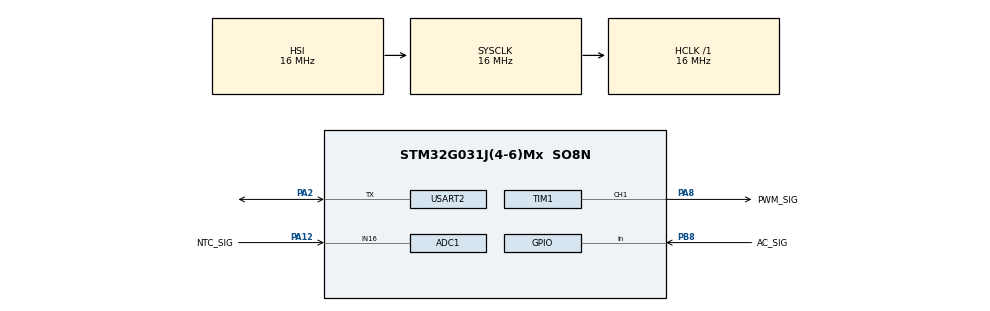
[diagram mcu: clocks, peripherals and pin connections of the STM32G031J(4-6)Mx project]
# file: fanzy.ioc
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ADC1.NbrOfConversion=1
ADC1.NbrOfConversionFlag=0
ADC1.SelectedChannel=ADC_CHANNEL_16
ADC1.Sequencer=NOT_FULLY_CONFIGURABLE
ADC1.master=1
Mcu.Family=STM32G0
Mcu.Name=STM32G031J(4-6)Mx
Mcu.Package=SO8N
NVIC.USART2_IRQn=true\:0\:0\:false\:false\:true\:true\:true\:true
PA12\ [PA10].GPIO_Label=NTC_SIG
PA12\ [PA10].Mode=IN16
PA12\ [PA10].Signal=ADC1_IN16
PA13.Mode=Serial_Wire
PA13.Signal=SYS_SWDIO
PA14-BOOT0.Mode=Serial_Wire
PA14-BOOT0.Signal=SYS_SWCLK
PA14-BOOT0__PA15__PB5__PB6.StandardMode=true
PA2.Mode=Half_duplex(single_wire_mode)
PA2.Signal=USART2_TX
PA8.GPIO_Label=PWM_SIG
PA8.Signal=S_TIM1_CH1
PB0__PB1__PA8__PA11\ [PA9].StandardMode=true
PB8.GPIO_Label=AC_SIG
PB8.Signal=GPIO_Input
PC14-OSC32_IN\ (PC14)__PB7__PB8__PB9.StandardMode=true
PF2\ -\ NRST__PA0__PA1__PA2.StandardMode=true
ProjectManager.HeapSize=0x200
ProjectManager.StackSize=0x400
ProjectManager.TargetToolchain=CMake
RCC.AHBFreq_Value=16000000
RCC.CortexFreq_Value=16000000
RCC.EXTERNAL_CLOCK_VALUE=12288000
RCC.HCLKFreq_Value=16000000
RCC.HSE_VALUE=8000000
RCC.HSI_VALUE=16000000
RCC.LSE_VALUE=32768
RCC.SYSCLKFreq_VALUE=16000000
RCC.VCOOutputFreq_Value=128000000
SH.S_TIM1_CH1.0=TIM1_CH1,PWM Generation1 CH1
TIM1.Channel-PWM\ Generation1\ CH1=TIM_CHANNEL_1
TIM1.Period=100-1
TIM1.Prescaler=6400-1
USART2.VirtualMode-Half_duplex(single_wire_mode)=VM_ASYNC
board=custom

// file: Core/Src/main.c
/* USER CODE BEGIN Header */
/**
 ******************************************************************************
 * @file           : main.c
 * @brief          : Main program body
 ******************************************************************************
 * @attention
 *
 * Copyright (c) 2026 STMicroelectronics.
 * All rights reserved.
 *
 * This software is licensed under terms that can be found in the LICENSE file
 * in the root directory of this software component.
 * If no LICENSE file comes with this software, it is provided AS-IS.
 *
 ******************************************************************************
 */
/* USER CODE END Header */
#include "main.h"
#include "adc.h"
#include "gpio.h"
#include "stm32g0xx_hal.h"
#include "stm32g0xx_hal_def.h"
#include "stm32g0xx_hal_uart.h"
#include "tim.h"
#include "usart.h"

/* USER CODE BEGIN Includes */
#include "config.h"
#include "fan.h"
#include "proto.h"
#include "stdint.h"
#include "temp.h"
#include <stdint.h>
#include <string.h>

/* USER CODE END Includes */

void SystemClock_Config(void);

/* USER CODE BEGIN 0 */
#define PKT_BUF_SIZE sizeof(proto_packet_t)

static uint8_t uart_rx_buf[PKT_BUF_SIZE];
static uint8_t pkt_buf[PKT_BUF_SIZE];

static volatile uint16_t pkt_len;
static volatile bool pkt_ready;

void HAL_UARTEx_RxEventCallback(UART_HandleTypeDef *huart, uint16_t size) {
  if (huart != &huart2) {
    return;
  }

  if (!pkt_ready && size <= PKT_BUF_SIZE) {
    memcpy(pkt_buf, uart_rx_buf, size);
    pkt_len = size;
    pkt_ready = true;
  }

  HAL_UARTEx_ReceiveToIdle_IT(&huart2, uart_rx_buf, sizeof(uart_rx_buf));
}
/* USER CODE END 0 */

int main(void) {

  /* MCU Configuration--------------------------------------------------------*/

  /* Reset of all peripherals, Initializes the Flash interface and the Systick.
   */
  HAL_Init();

  /* USER CODE BEGIN Init */
  HAL_Delay(2000);

  /* USER CODE END Init */

  /* Configure the system clock */
  SystemClock_Config();

  /* Initialize all configured peripherals */
  MX_GPIO_Init();
  MX_TIM1_Init();
  MX_ADC1_Init();
  MX_USART2_UART_Init();
  /* USER CODE BEGIN 2 */

  uint32_t s = init_config();
  if (s != CONFIG_OK) {
    return s;
  }

  config_t cfg = {0};
  s = load_config(&cfg);
  if (s != CONFIG_OK) {
    return s;
  }

  fan_init();
  handle_msg_init();
  HAL_HalfDuplex_EnableReceiver(&huart2);
  HAL_UARTEx_ReceiveToIdle_IT(&huart2, uart_rx_buf, sizeof(uart_rx_buf));

  /* USER CODE END 2 */

  /* Infinite loop */
  /* USER CODE BEGIN WHILE */
  while (1) {
    if (pkt_ready) {
      pkt_ready = false;
      // uint16_t len = pkt_len;
      proto_packet_t *pkt = (proto_packet_t *)pkt_buf;
      proto_status_t st = proto_handle_pkt(pkt);
      HAL_HalfDuplex_EnableReceiver(&huart2);
      HAL_UARTEx_ReceiveToIdle_IT(&huart2, uart_rx_buf, sizeof(uart_rx_buf));
      if (st != PROTO_OK) {
        continue;
      }
    }
    temperature_t temp = {0};
    temp_status_t status = read_temp(&cfg, &temp);
    if (status != TEMP_OK) {
      // fan_set_duty(&cfg, (cfg.fan_temp_full_c + cfg.fan_temp_on_c) / 2);
      fan_set_duty(&cfg, cfg.fan_temp_full_c);
      continue;
    }

    fan_set_duty(&cfg, temp);
    HAL_Delay(100);
    /* USER CODE END WHILE */

  }
}

void SystemClock_Config(void) {
  RCC_OscInitTypeDef RCC_OscInitStruct = {0};
  RCC_ClkInitTypeDef RCC_ClkInitStruct = {0};

  /** Configure the main internal regulator output voltage
   */
  HAL_PWREx_ControlVoltageScaling(PWR_REGULATOR_VOLTAGE_SCALE1);

  /** Initializes the RCC Oscillators according to the specified parameters
   * in the RCC_OscInitTypeDef structure.
   */
  RCC_OscInitStruct.OscillatorType = RCC_OSCILLATORTYPE_HSI;
  RCC_OscInitStruct.HSIState = RCC_HSI_ON;
  RCC_OscInitStruct.HSIDiv = RCC_HSI_DIV1;
  RCC_OscInitStruct.HSICalibrationValue = RCC_HSICALIBRATION_DEFAULT;
  RCC_OscInitStruct.PLL.PLLState = RCC_PLL_NONE;
  if (HAL_RCC_OscConfig(&RCC_OscInitStruct) != HAL_OK) {
    Error_Handler();
  }

  /** Initializes the CPU, AHB and APB buses clocks
   */
  RCC_ClkInitStruct.ClockType =
      RCC_CLOCKTYPE_HCLK | RCC_CLOCKTYPE_SYSCLK | RCC_CLOCKTYPE_PCLK1;
  RCC_ClkInitStruct.SYSCLKSource = RCC_SYSCLKSOURCE_HSI;
  RCC_ClkInitStruct.AHBCLKDivider = RCC_SYSCLK_DIV1;
  RCC_ClkInitStruct.APB1CLKDivider = RCC_HCLK_DIV1;

  if (HAL_RCC_ClockConfig(&RCC_ClkInitStruct, FLASH_LATENCY_0) != HAL_OK) {
    Error_Handler();
  }
}

void Error_Handler(void) {
  __disable_irq();
  while (1) {
  }
}
#ifdef USE_FULL_ASSERT
/**
 * @brief  Reports the name of the source file and the source line number
 *         where the assert_param error has occurred.
 * @param  file: pointer to the source file name
 * @param  line: assert_param error line source number
 * @retval None
 */
void assert_failed(uint8_t *file, uint32_t line) {
  /* USER CODE BEGIN 6 */
  /* User can add his own implementation to report the file name and line
     number, ex: printf("Wrong parameters value: file %s on line %d\r\n", file,
     line) */
  /* USER CODE END 6 */
}
#endif /* USE_FULL_ASSERT */
